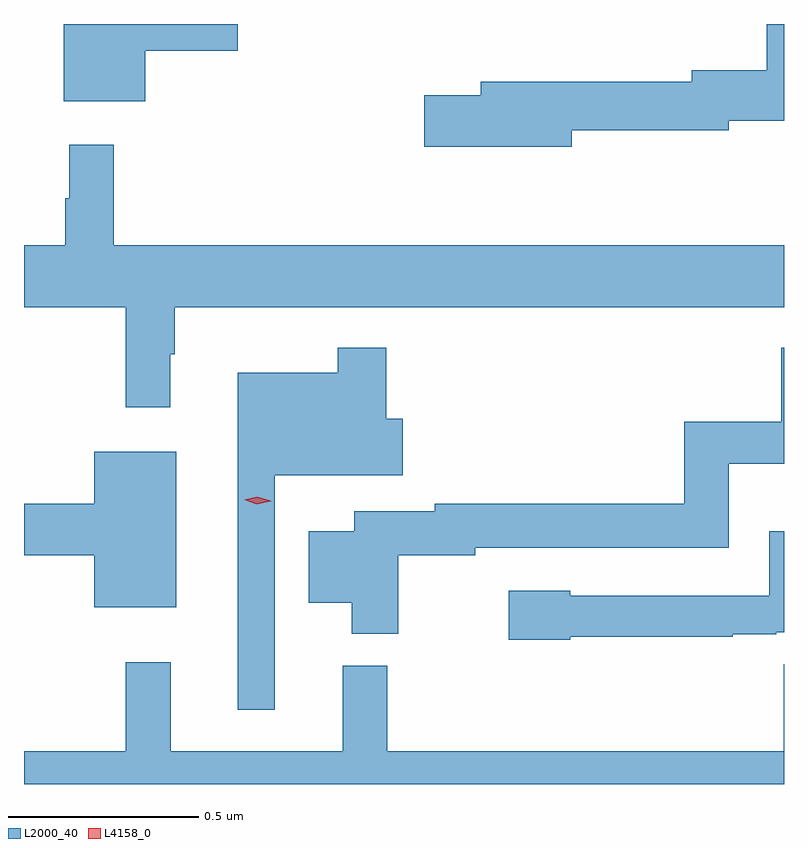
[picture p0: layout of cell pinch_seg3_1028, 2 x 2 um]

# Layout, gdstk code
import gdstk
lib = gdstk.Library(unit=1e-6, precision=1e-09)
def P(c, l, *ps):  # polygons
    for p in ps: c.add(gdstk.Polygon(p, *l))
L2000_40 = (2000, 40)
L4158_0 = (4158, 0)

pinch_seg3_1028 = lib.new_cell('pinch_seg3_1028')
P(pinch_seg3_1028, L2000_40, [(412.81,674.742),(413.224,674.742),(413.224,674.768),(413.369,674.768),(413.369,675.022),(413.324,675.022),(413.324,674.9),(413.126,674.9),(413.126,674.87),(412.571,674.87),(412.571,674.834),(412.422,674.834),(412.422,674.699),(412.81,674.699)],
  [(411.688,674.951),(411.931,674.951),(411.931,675.022),(411.473,675.022),(411.473,674.819),(411.688,674.819)],
  [(411.605,674.704),(411.488,674.704),(411.488,674.564),(411.477,674.564),(411.477,674.44),(411.369,674.44),(411.369,674.276),(411.637,674.276),(411.637,674.013),(411.754,674.013),(411.754,674.153),(411.766,674.153),(411.766,674.276),(413.369,674.276),(413.369,674.44),(411.605,674.44)],
  [(412.354,673.624),(412.556,673.624),(412.556,673.644),(413.224,673.644),(413.224,673.865),(413.369,673.865),(413.369,674.17),(413.362,674.17),(413.362,673.975),(413.107,673.975),(413.107,673.76),(412.45,673.76),(412.45,673.74),(412.238,673.74),(412.238,673.687),(412.118,673.687),(412.118,673.499),(412.232,673.499),(412.232,673.418),(412.354,673.418)],
  [(412.029,673.835),(412.366,673.835),(412.366,673.983),(412.322,673.983),(412.322,674.17),(412.194,674.17),(412.194,674.104),(411.932,674.104),(411.932,673.218),(412.029,673.218)],
  [(411.769,673.897),(411.554,673.897),(411.554,673.76),(411.369,673.76),(411.369,673.624),(411.554,673.624),(411.554,673.487),(411.769,673.487)],
  [(412.806,673.41),(413.234,673.41),(413.234,673.416),(413.348,673.416),(413.348,673.422),(413.369,673.422),(413.369,673.687),(413.33,673.687),(413.33,673.518),(412.806,673.518),(412.806,673.531),(412.644,673.531),(412.644,673.402),(412.806,673.402)],
  [(413.369,673.337),(413.368,673.337),(413.368,673.108),(412.325,673.108),(412.325,673.333),(412.208,673.333),(412.208,673.108),(411.755,673.108),(411.755,673.342),(411.637,673.342),(411.637,673.108),(411.369,673.108),(411.369,673.022),(413.369,673.022)])
P(pinch_seg3_1028, L4158_0, [(411.982,673.758),(411.948,673.77),(411.947,673.77),(411.948,673.77),(411.983,673.778),(412.018,673.767),(412.019,673.766),(412.018,673.766)])

lib.write_gds('pinch_seg3_1028.gds')
